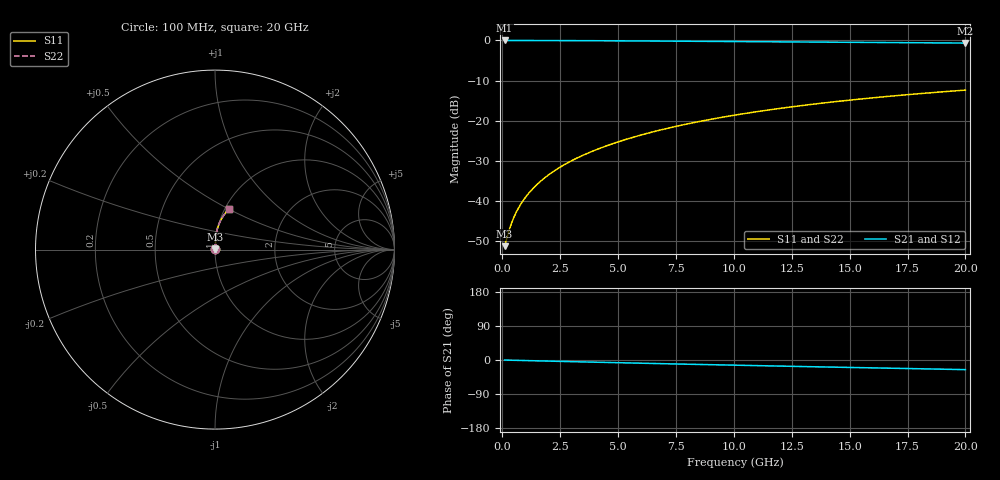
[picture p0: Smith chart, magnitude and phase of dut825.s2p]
! Touchstone file exported from HFSS 2024.1.0
!  File:  C:/UserFiles/LocalFiles/RDL_TSV_Batchsim/temp_RDL_bottom_825_1779862975.aedt
!  Generated:  02:25:43 PM May 27, 2026
!  Design:  RDL_bottom
!  Project:  temp_RDL_bottom_825_1779862975
!  Setup:  Setup1
!  Solution:  Sweep
! Variables:
!  dtsv = 10.80580581um
!  hbump = 3um
!  htsv = 68.54um
!  ldown = 355.9um
!  lrdl = 100um
!  p = 40
!  p1 = 43.24um
!  rhole = 1um
!  t = 450um
!  tdown = 2.59um
!  trdl = 3.915915916um
!  wdown = 22.5um
!  wrdl = 20um
# GHz S MA R 50.000000
! Terminal data exported
! Port[1] = RDL1_T1
! Port[2] = RDL1_T2
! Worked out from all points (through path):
!   200 points, 100 MHz to 20 GHz, reference 50 ohm
!   highest |S21| = -0.02 dB at 100 MHz (marker M1); lowest = -0.7 dB at 20 GHz (marker M2)
!   group delay of S21, straight-line fit = 3.5 ps
!   lowest |S11| = -51.3 dB at 100 MHz (marker M3), VSWR 1.01, Z = 50.2 + j0.119 ohm
!   |S11| at or under -10 dB: start of sweep to end of sweep
!   |S22| runs from -51.3 to -12.4 dB; largest |S21 - S12| = 3.6e-15
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0.1  0.00273 25.7  0.9975 -0.2  0.9975 -0.2  0.00273 25.7
! Gamma 0 0 0 0
! Port Impedance 50 0 50 0
0.3  0.004347 52.6  0.9973 -0.5  0.9973 -0.5  0.004347 52.7
0.4  0.005292 58.8  0.9972 -0.6  0.9972 -0.6  0.005292 58.8
0.6  0.007206 66.2  0.9969 -0.9  0.9969 -0.9  0.007206 66.2
0.7  0.008165 68.7  0.9968 -1.1  0.9968 -1.1  0.008165 68.7
0.9  0.01009 72.5  0.9965 -1.3  0.9965 -1.3  0.01009 72.5
1.2  0.01303 76.3  0.9962 -1.8  0.9962 -1.8  0.01303 76.3
1.4  0.01502 78.2  0.9959 -2.1  0.9959 -2.1  0.01502 78.2
1.7  0.01805 80.3  0.9954 -2.5  0.9954 -2.5  0.01805 80.3
2.2  0.02321 82.6  0.9946 -3.2  0.9946 -3.2  0.02321 82.6
2.8  0.02957 84.4  0.9933 -4.1  0.9933 -4.1  0.02957 84.4
3.5  0.03721 85.7  0.9915 -5.1  0.9915 -5.1  0.03721 85.7
4.2  0.04508 86.4  0.9895 -6.1  0.9895 -6.1  0.04508 86.4
5  0.05435 86.8  0.9868 -7.2  0.9868 -7.2  0.05435 86.8
5.9  0.06509 86.7  0.9836 -8.4  0.9836 -8.4  0.06509 86.7
6.8  0.07611 86.4  0.9802 -9.6  0.9802 -9.6  0.07611 86.4
8.4  0.0962 85.3  0.9738 -11.7  0.9738 -11.7  0.09619 85.3
10.1  0.1179 83.6  0.9669 -13.8  0.9669 -13.8  0.1179 83.6
11.7  0.1384 81.7  0.9603 -15.8  0.9603 -15.8  0.1384 81.7
13.4  0.16 79.6  0.9532 -17.8  0.9532 -17.8  0.16 79.6
16.7  0.201 75.4  0.9396 -21.7  0.9396 -21.7  0.201 75.3
20  0.2401 71.1  0.9258 -25.4  0.9258 -25.4  0.2401 71.1
